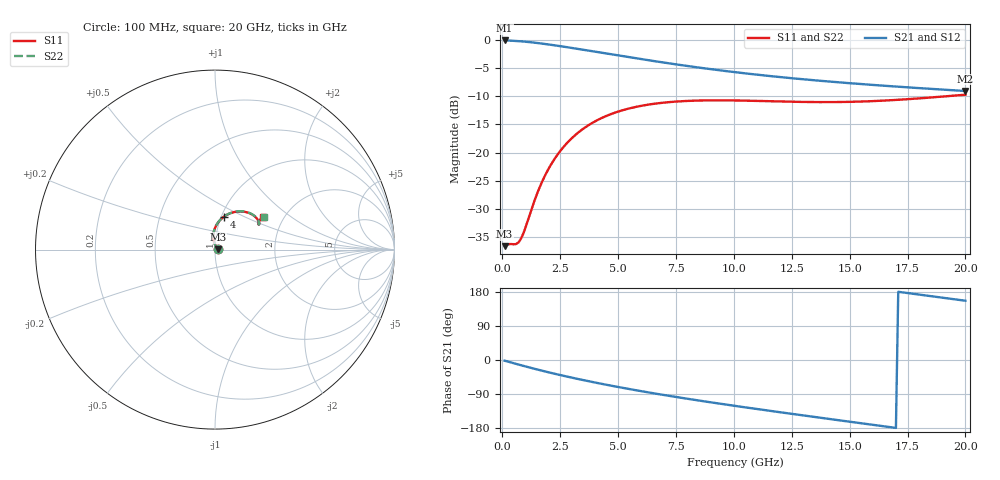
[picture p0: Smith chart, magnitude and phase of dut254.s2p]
! Touchstone file exported from HFSS 2023.1.0
!  File:  D:/Users/fzz/RDL_TSV/temp_RDL_TSV_254_1778760664.aedt
!  Generated:  8:21:27 %x4E0B%x5348  5%x6708 14, 2026
!  Design:  RDL_TSV
!  Project:  temp_RDL_TSV_254_1778760664
!  Setup:  Setup1
!  Solution:  Sweep
! Variables:
!  dtsv = 10.19um
!  hbump = 3um
!  htsv = 76.82um
!  ldown = 216.66um
!  lrdl = 552.94um
!  p = 40
!  p1 = 44.29um
!  rhole = 10um
!  subl = 2861.74um
!  t = 450um
!  tdown = 3.31um
!  trdl = 4.8um
!  viad = 10um
!  wdown = 14.27um
!  wrdl = 17.57um
!  xbump = 18um
# GHz S MA R 50.000000
! Terminal data exported
! Port[1] = TM1_1_T1
! Port[2] = TM1_4_T1
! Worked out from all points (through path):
!   200 points, 100 MHz to 20 GHz, reference 50 ohm
!   highest |S21| = -0.13 dB at 100 MHz (marker M1); lowest = -9.1 dB at 20 GHz (marker M2)
!   group delay of S21, straight-line fit = 26.7 ps
!   lowest |S11| = -36.6 dB at 100 MHz (marker M3), VSWR 1.03, Z = 51.5 + j0.214 ohm
!   |S11| at or under -10 dB: start of sweep to 19.22 GHz
!   |S22| runs from -36.6 to -9.7 dB; largest |S21 - S12| = 6.8e-15
!   S11 on the Smith chart (normalised r, x): 100 MHz: 1.03, +0.00; 4 GHz: 1.03, +0.39; 20 GHz: 1.58, +0.64
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0.1  0.01487 8.0  0.9849 -1.8  0.9849 -1.8  0.01487 8.0
! Gamma 0 0 0 0
! Port Impedance 50 0 50 0
0.3  0.01552 20.5  0.9819 -5.2  0.9819 -5.2  0.01552 20.6
0.6  0.01555 42.8  0.9746 -10.3  0.9746 -10.3  0.01554 42.9
0.8  0.0172 62.6  0.968 -13.7  0.968 -13.7  0.01719 62.7
1  0.02171 79.7  0.9602 -17.0  0.9602 -17.0  0.02172 79.8
1.5  0.04318 97.3  0.9361 -24.9  0.9361 -24.9  0.04324 97.4
1.7  0.0542 98.5  0.9251 -28.0  0.9251 -28.0  0.05429 98.6
2  0.07207 97.7  0.9076 -32.5  0.9076 -32.5  0.07219 97.8
2.3  0.09077 95.3  0.8894 -36.9  0.8894 -36.9  0.09093 95.4
2.7  0.1159 90.9  0.8646 -42.5  0.8646 -42.5  0.1161 91.0
3.1  0.1402 86.0  0.8396 -47.9  0.8396 -47.9  0.1405 86.1
3.5  0.1631 81.0  0.8148 -53.1  0.8148 -53.1  0.1635 81.1
4  0.1891 75.0  0.7843 -59.4  0.7843 -59.4  0.1896 75.1
5.2  0.2377 62.1  0.7154 -73.5  0.7154 -73.5  0.2384 62.2
6.8  0.2749 48.7  0.6354 -90.6  0.6354 -90.6  0.2759 48.8
8.4  0.2892 39.4  0.5699 -106.1  0.5699 -106.1  0.2903 39.4
10.1  0.2898 33.1  0.5146 -121.5  0.5146 -121.5  0.2911 33.2
11.7  0.2849 30.3  0.4736 -135.3  0.4736 -135.3  0.2862 30.3
13.4  0.2806 29.8  0.4388 -149.6  0.4388 -149.6  0.2819 29.7
15  0.2818 30.9  0.4123 -162.8  0.4123 -162.8  0.283 30.8
16.7  0.2906 32.6  0.3886 -176.8  0.3886 -176.8  0.2917 32.5
20  0.3259 34.0  0.3515 156.4  0.3515 156.4  0.3267 34.0
